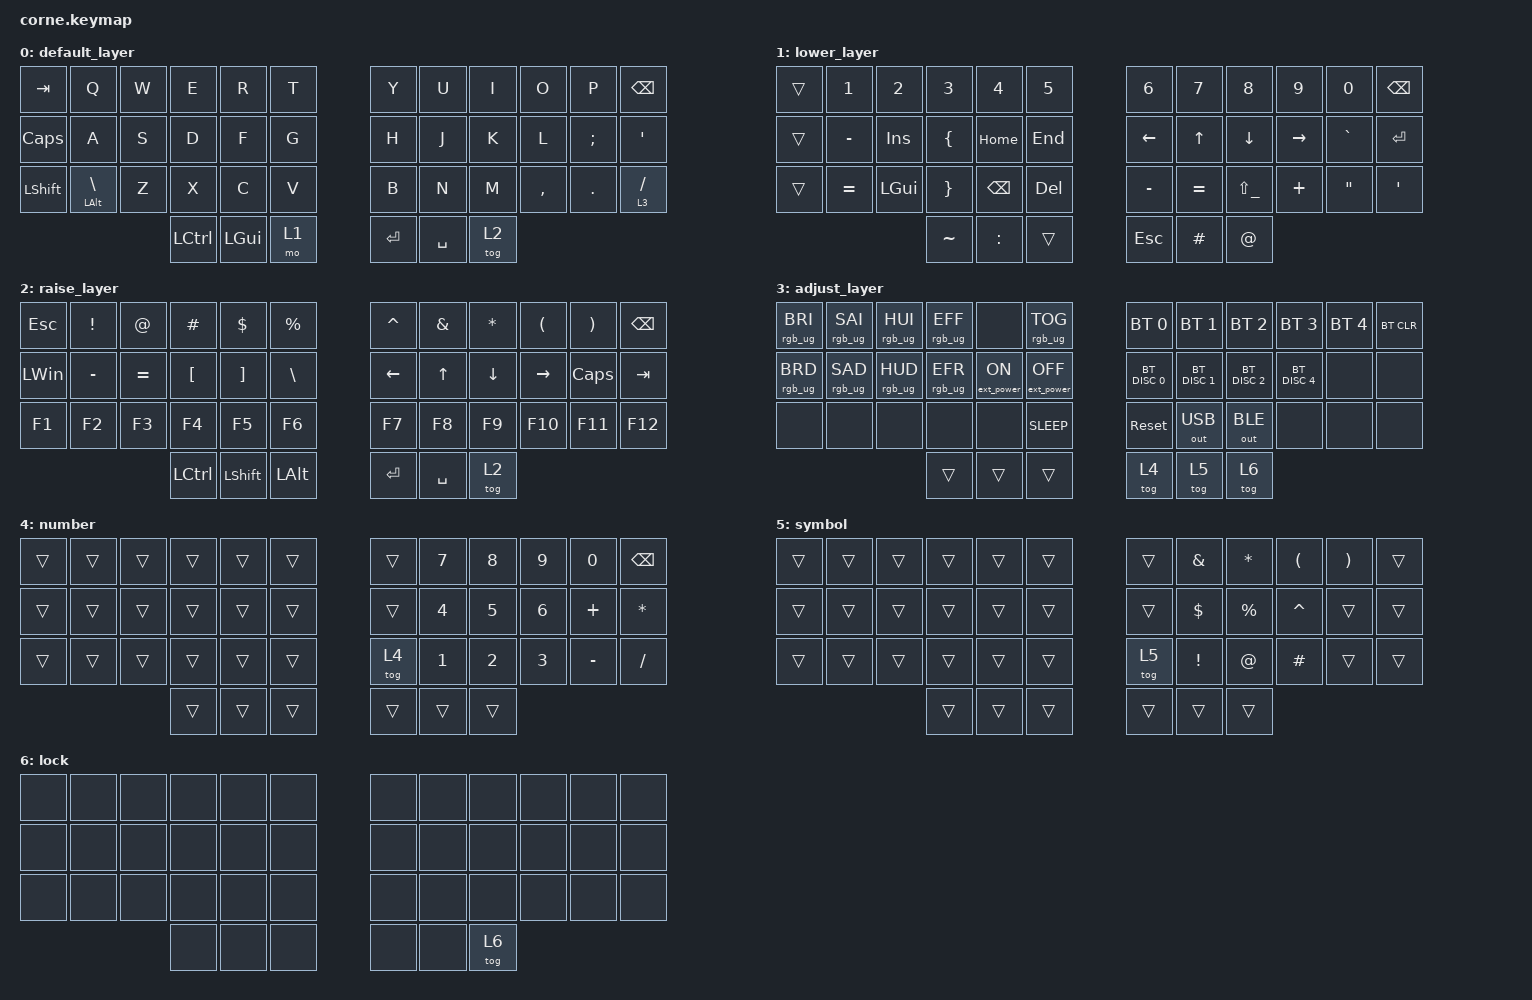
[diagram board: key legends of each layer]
/*
 * Copyright (c) 2020 The ZMK Contributors
 *
 * SPDX-License-Identifier: MIT
 */

#include <behaviors.dtsi>
#include <dt-bindings/zmk/bt.h>
#include <dt-bindings/zmk/ext_power.h>
#include <dt-bindings/zmk/keys.h>
#include <dt-bindings/zmk/outputs.h>
#include <dt-bindings/zmk/rgb.h>

/ {
    combos {
        compatible = "zmk,combos";

        cb_Esc {
            bindings = <&kp ESCAPE>;
            key-positions = <19 20>;
        };

        cb_quicker {
            bindings = <&kp LG(GRAVE)>;
            key-positions = <2 3>;
        };

        cb_ditto {
            bindings = <&kp LA(GRAVE)>;
            key-positions = <3 4>;
            layers = <0>;
        };
    };

    keymap {
        compatible = "zmk,keymap";

        default_layer {
            // -------------------------------------------------------------------------------------
            // |  TAB |  Q  |  W  |  E  |  R  |  T  |       |  Y  |  U   |  I  |  O  |  P  |   BKSP    |
            // | SHFT |  A  |  S  |  D  |  F  |  G  |       |  H  |  J   |  K  |  L  |  ;  |    '      |
            // | CTRL |  Z  |  X  |  C  |  V  |  B  |       |  N  |  M   |  ,  |  .  |  /  | SHFT(RET) |
            //                    | ALT | WIN | LWR |       | RSE | SPC  | RTN |

            bindings = <
&kp TAB         &kp Q                   &kp W  &kp E      &kp R     &kp T    &kp Y      &kp U      &kp I   &kp O      &kp P       &kp BSPC
&kp CAPS        &kp A                   &kp S  &kp D      &kp F     &kp G    &kp H      &kp J      &kp K   &kp L      &kp SEMI    &kp SQT
&kp LEFT_SHIFT  &mt LEFT_ALT BACKSLASH  &kp Z  &kp X      &kp C     &kp V    &kp B      &kp N      &kp M   &kp COMMA  &kp PERIOD  &lt 3 SLASH
                                               &kp LCTRL  &kp LGUI  &mo 1    &kp ENTER  &kp SPACE  &tog 2
            >;
        };

        lower_layer {
            // ----------------------------------------------------------------------------------
            // |    |  !  |  @  |  #  |  $  |  %  |          |  ^  |  &  |  *  |  (  |  )  |    DEL   |
            // |    |  _  |  +  |  {  |  }  | "|" |          | LFT | PGUP|  UP |PGDN|  `  |     ~     |
            // |    | ESC | GUI | ALT | CAPS|  "  |          | HOME| LFT | DWN | RGT| PRSC| SHFT(RET) |
            //                        |     |     |           | ADJ | SPC |  RET  |

            bindings = <
&trans  &kp N1     &kp NUMBER_2  &kp N3           &kp N4         &kp N5     &kp NUMBER_6    &kp N7        &kp N8              &kp N9     &kp N0             &kp BACKSPACE
&trans  &kp MINUS  &kp INSERT    &kp LBRC         &kp HOME       &kp END    &kp LEFT_ARROW  &kp UP_ARROW  &kp DOWN            &kp RIGHT  &kp GRAVE          &kp RETURN
&trans  &kp EQUAL  &kp LGUI      &kp RIGHT_BRACE  &kp BACKSPACE  &kp DEL    &kp MINUS       &kp EQUAL     &kp LS(UNDERSCORE)  &kp PLUS   &kp DOUBLE_QUOTES  &kp SQT
                                 &kp TILDE        &kp COLON      &trans     &kp ESCAPE      &kp HASH      &kp AT
            >;
        };

        raise_layer {
            // -----------------------------------------------------------------------------------------
            // |    |  1  |  2  |  3  |  4  |  5  |   |  6  |  7  |  8  |  9  |  0  | DEL |
            // |    |  -  |  =  |  [  |  ]  |  \  |   | F1  | F2  | F3  | F4  | F5  | F6  |
            // |    | ESC | GUI | ALT | CAPS|  "  |   | F7  | F8  | F9  | F10 | F11 | F12 |
            //                       |     | ADJ | BKSP |    |     |

            bindings = <
&kp ESC       &kp EXCLAMATION  &kp AT_SIGN  &kp HASH   &kp DOLLAR      &kp PERCENT     &kp CARET  &kp AMPERSAND  &kp ASTERISK  &kp LEFT_PARENTHESIS  &kp RIGHT_PARENTHESIS  &kp BACKSPACE
&kp LEFT_WIN  &kp MINUS        &kp EQUAL    &kp LBKT   &kp RBKT        &kp BSLH        &kp LEFT   &kp UP_ARROW   &kp DOWN      &kp RIGHT             &kp CAPSLOCK           &kp TAB
&kp F1        &kp F2           &kp F3       &kp F4     &kp F5          &kp F6          &kp F7     &kp F8         &kp F9        &kp F10               &kp F11                &kp F12
                                            &kp LCTRL  &kp LEFT_SHIFT  &kp LEFT_ALT    &kp ENTER  &kp SPACE      &tog 2
            >;
        };

        adjust_layer {
            // -----------------------------------------------------------------------------------------
            // | RGB BRI+ | RGB SAT+ | RGB HUE+ | RGB ANI+ |    | RGB TOG |   |  BT1  | BT2 | BT3 | BT4 | BT5 | BT CLR |
            // | RGB BRI- | RGB SAT- | RGB HUE- | RGB ANI- |    |         |   |  USB  | BLE |     |     |     |        |
            // |          |          |          |          |    | K_SLEEP |   | RESET |     |     |     |     |        |
            //                                              |     |     |     |     |     |

            bindings = <
&rgb_ug RGB_BRI  &rgb_ug RGB_SAI  &rgb_ug RGB_HUI  &rgb_ug RGB_EFF  &none             &rgb_ug RGB_TOG      &bt BT_SEL 0   &bt BT_SEL 1   &bt BT_SEL 2   &bt BT_SEL 3   &bt BT_SEL 4  &bt BT_CLR
&rgb_ug RGB_BRD  &rgb_ug RGB_SAD  &rgb_ug RGB_HUD  &rgb_ug RGB_EFR  &ext_power EP_ON  &ext_power EP_OFF    &bt BT_DISC 0  &bt BT_DISC 1  &bt BT_DISC 2  &bt BT_DISC 4  &none         &none
&none            &none            &none            &none            &none             &kp K_SLEEP          &sys_reset     &out OUT_USB   &out OUT_BLE   &none          &none         &none
                                                   &trans           &trans            &trans               &tog 4         &tog 5         &tog 6
            >;
        };

        number {
            bindings = <
&trans  &trans  &trans  &trans  &trans  &trans    &trans  &kp N7        &kp NUMBER_8  &kp N9  &kp N0     &kp BACKSPACE
&trans  &trans  &trans  &trans  &trans  &trans    &trans  &kp NUMBER_4  &kp N5        &kp N6  &kp PLUS   &kp STAR
&trans  &trans  &trans  &trans  &trans  &trans    &tog 4  &kp NUMBER_1  &kp N2        &kp N3  &kp MINUS  &kp SLASH
                        &trans  &trans  &trans    &trans  &trans        &trans
            >;
        };

        symbol {
            bindings = <
&trans  &trans  &trans  &trans  &trans  &trans    &trans  &kp AMPERSAND  &kp ASTERISK  &kp LEFT_PARENTHESIS  &kp RIGHT_PARENTHESIS  &trans
&trans  &trans  &trans  &trans  &trans  &trans    &trans  &kp DOLLAR     &kp PERCENT   &kp CARET             &trans                 &trans
&trans  &trans  &trans  &trans  &trans  &trans    &tog 5  &kp EXCL       &kp AT_SIGN   &kp HASH              &trans                 &trans
                        &trans  &trans  &trans    &trans  &trans         &trans
            >;
        };

        lock {
            bindings = <
&none  &none  &none  &none  &none  &none    &none  &none  &none   &none  &none  &none
&none  &none  &none  &none  &none  &none    &none  &none  &none   &none  &none  &none
&none  &none  &none  &none  &none  &none    &none  &none  &none   &none  &none  &none
                     &none  &none  &none    &none  &none  &tog 6
            >;
        };
    };
};
